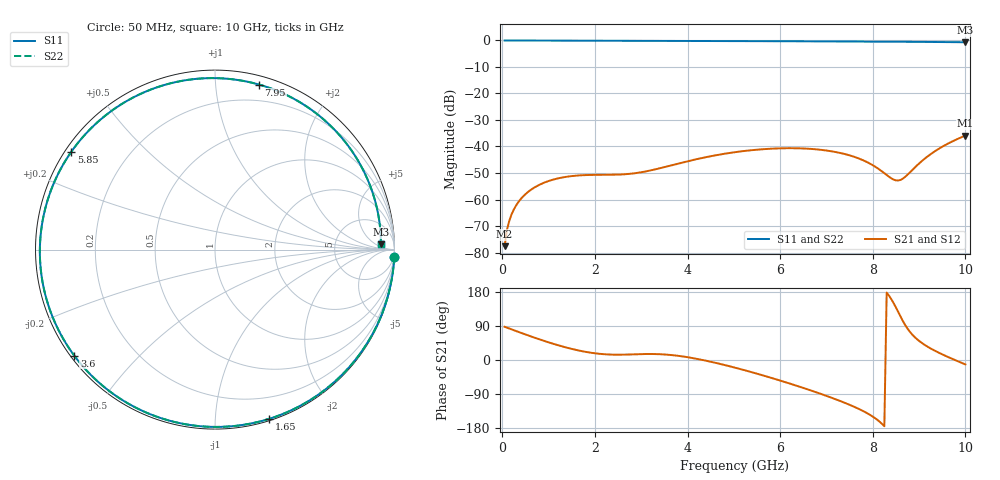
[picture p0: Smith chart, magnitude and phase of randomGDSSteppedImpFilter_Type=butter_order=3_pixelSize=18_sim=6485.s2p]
! freq	dB(S11)	phase(S11)	dB(S12)	phase(S12)
!  dB(S21)	phase(S21)	dB(S22)	phase(S22)
!S-par simulation data
#  GHz  S  DB  R 50
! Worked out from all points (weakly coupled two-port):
!   200 points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, 50 MHz to 10 GHz, reference 50 ohm
!   highest |S21| = -35.89 dB at 10 GHz (marker M1); lowest = -77.6 dB at 50 MHz (marker M2)
!   lowest |S11| = -0.7 dB at 10 GHz (marker M3), VSWR 25.67, Z = 1.11e+03 + j439 ohm
!   |S11| at or under -10 dB: nowhere
!   |S22| runs from -0.7 to 0.0 dB; largest |S21 - S12| = 0
!   S11 on the Smith chart (normalised r, x): 50 MHz: 0, -49; 1.65 GHz: 0.01, -1.37; 3.6 GHz: 0.01, -0.33; 5.85 GHz: 0.02, +0.31; 7.95 GHz: 0.07, +1.30; 10 GHz: 22, +9
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0.05  -0.00 -2.3  -77.60 87.7  -77.60 87.7  -0.00 -2.3
0.1  -0.01 -4.6  -71.60 85.4  -71.60 85.4  -0.01 -4.6
0.2  -0.01 -9.2  -65.63 80.8  -65.63 80.8  -0.01 -9.2
0.35  -0.02 -16.0  -60.89 74.0  -60.89 74.0  -0.02 -16.0
0.5  -0.03 -22.8  -57.98 67.4  -57.98 67.4  -0.03 -22.8
1  -0.06 -45.0  -53.02 46.5  -53.02 46.5  -0.06 -45.0
1.65  -0.09 -72.4  -50.92 25.1  -50.92 25.1  -0.09 -72.4
1.75  -0.09 -76.4  -50.82 22.6  -50.82 22.6  -0.09 -76.4
2.5  -0.12 -105.1  -50.61 13.9  -50.61 13.9  -0.12 -105.1
3.4  -0.15 -136.4  -48.22 15.3  -48.22 15.3  -0.15 -136.4
3.6  -0.16 -143.0  -47.33 13.7  -47.33 13.7  -0.16 -143.0
4.3  -0.19 -165.5  -44.38 0.7  -44.38 0.7  -0.19 -165.4
5.05  -0.23 171.0  -42.09 -21.0  -42.09 -21.0  -0.23 171.1
5.85  -0.28 145.8  -40.80 -48.7  -40.80 -48.7  -0.28 145.9
6.7  -0.33 118.2  -40.96 -81.9  -40.96 -81.9  -0.33 118.4
7.35  -0.38 96.2  -42.65 -110.8  -42.65 -110.8  -0.38 96.4
7.95  -0.43 75.1  -46.56 -145.5  -46.56 -145.5  -0.43 75.3
8.35  -0.47 60.8  -51.39 169.8  -51.39 169.8  -0.47 61.0
8.5  -0.48 55.4  -52.78 138.6  -52.78 138.6  -0.48 55.6
8.6  -0.49 51.8  -52.59 114.4  -52.59 114.4  -0.49 52.0
9.3  -0.57 26.5  -42.28 27.0  -42.28 27.0  -0.57 26.8
10  -0.68 1.8  -35.89 -11.7  -35.89 -11.7  -0.68 2.1
